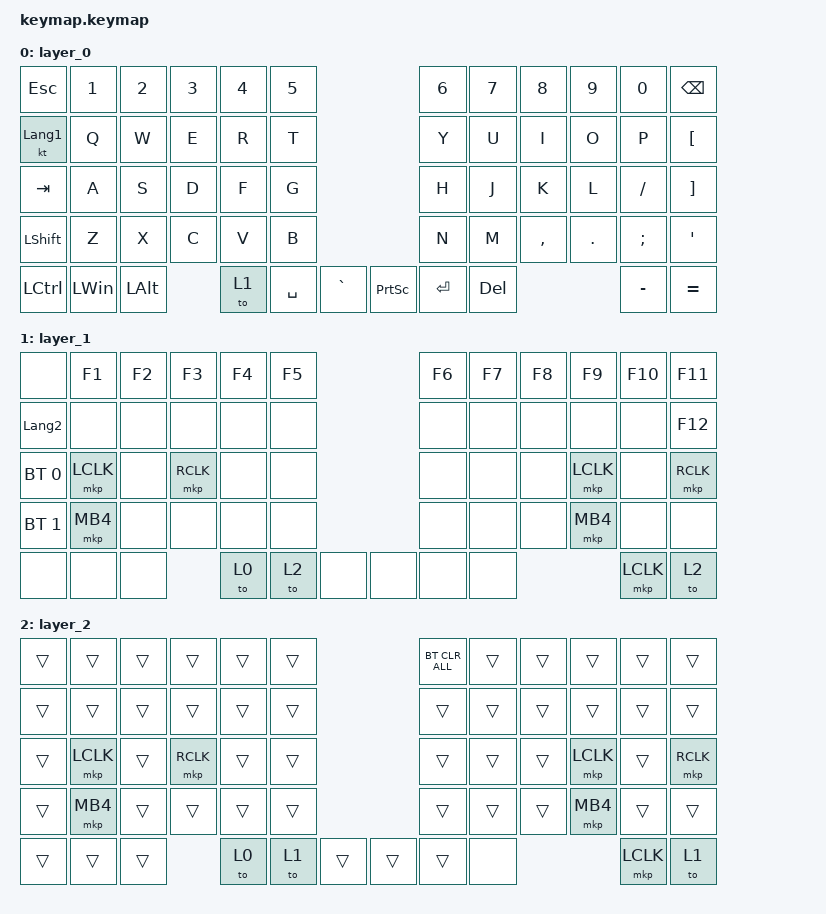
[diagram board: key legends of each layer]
#include <behaviors.dtsi>
#include <dt-bindings/zmk/bt.h>
#include <dt-bindings/zmk/keys.h>
#include <dt-bindings/zmk/pointing.h>

/ {
    keymap {
        compatible = "zmk,keymap";

        layer_0 {
            bindings = <
&kp ESC         &kp N1        &kp N2    &kp N3  &kp N4  &kp N5                                 &kp N6      &kp N7   &kp N8     &kp N9   &kp N0         &kp BACKSPACE
&kt LANGUAGE_1  &kp Q         &kp W     &kp E   &kp R   &kp T                                  &kp Y       &kp U    &kp I      &kp O    &kp P          &kp LEFT_BRACKET
&kp TAB         &kp A         &kp S     &kp D   &kp F   &kp G                                  &kp H       &kp J    &kp K      &kp L    &kp SLASH      &kp RIGHT_BRACKET
&kp LSHFT       &kp Z         &kp X     &kp C   &kp V   &kp B                                  &kp N       &kp M    &kp COMMA  &kp DOT  &kp SEMICOLON  &kp SINGLE_QUOTE
&kp LCTRL       &kp LEFT_WIN  &kp LALT          &to 1   &kp SPACE  &kp GRAVE  &kp PRINTSCREEN  &kp RETURN  &kp DEL                      &kp MINUS      &kp EQUAL
            >;
        };

        layer_1 {
            bindings = <
&none           &kp F1     &kp F2  &kp F3     &kp F4  &kp F5                &kp F6  &kp F7  &kp F8  &kp F9     &kp F10    &kp F11
&kp LANGUAGE_2  &none      &none   &none      &none   &none                 &none   &none   &none   &none      &none      &kp F12
&bt BT_SEL 0    &mkp LCLK  &none   &mkp RCLK  &none   &none                 &none   &none   &none   &mkp LCLK  &none      &mkp RCLK
&bt BT_SEL 1    &mkp MB4   &none   &none      &none   &none                 &none   &none   &none   &mkp MB4   &none      &none
&none           &none      &none              &to 0   &to 2   &none  &none  &none   &none                      &mkp LCLK  &to 2
            >;
        };

        layer_2 {
            bindings = <
&trans  &trans     &trans  &trans     &trans  &trans                  &bt BT_CLR_ALL  &trans  &trans  &trans     &trans     &trans
&trans  &trans     &trans  &trans     &trans  &trans                  &trans          &trans  &trans  &trans     &trans     &trans
&trans  &mkp LCLK  &trans  &mkp RCLK  &trans  &trans                  &trans          &trans  &trans  &mkp LCLK  &trans     &mkp RCLK
&trans  &mkp MB4   &trans  &trans     &trans  &trans                  &trans          &trans  &trans  &mkp MB4   &trans     &trans
&trans  &trans     &trans             &to 0   &to 1   &trans  &trans  &trans          &none                      &mkp LCLK  &to 1
            >;
        };
    };
};
